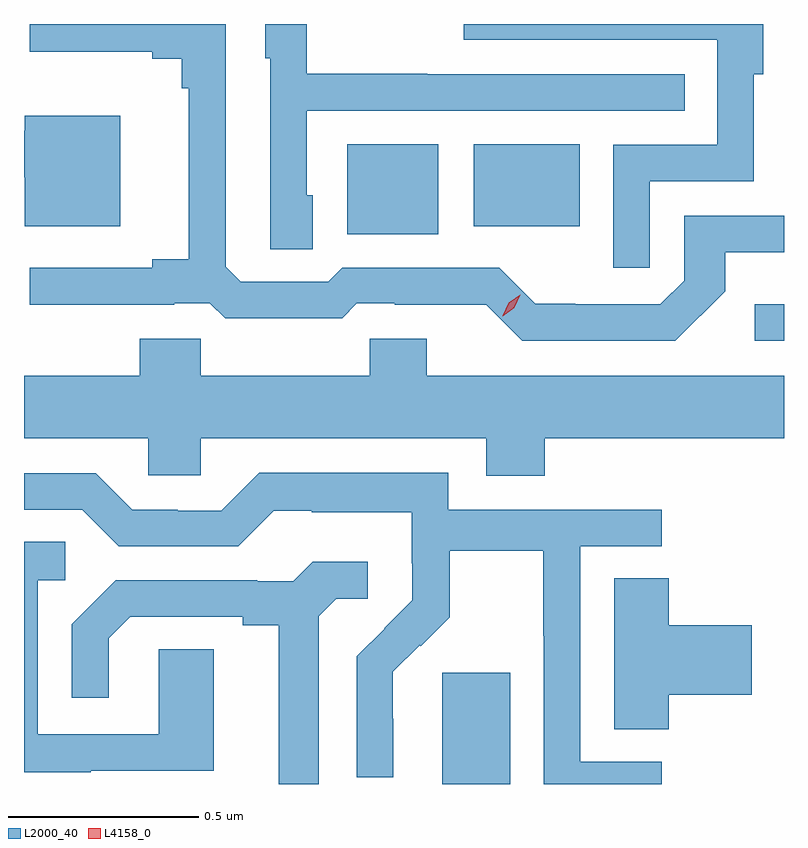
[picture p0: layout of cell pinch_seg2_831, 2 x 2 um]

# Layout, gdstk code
import gdstk
lib = gdstk.Library(unit=1e-6, precision=1e-09)
def R(c, l, rs):  # rectangles x0, y0, x1, y1
    for r in rs: c.add(gdstk.rectangle(r[:2], r[2:], *l))
def P(c, l, *ps):  # polygons
    for p in ps: c.add(gdstk.Polygon(p, *l))
L2000_40 = (2000, 40)
L4158_0 = (4158, 0)

pinch_seg2_831 = lib.new_cell('pinch_seg2_831')
R(pinch_seg2_831, L2000_40, [(639.98,620.086,640.159,620.379), (640.803,621.252,640.88,621.349), (639.731,621.533,639.97,621.769), (640.064,621.554,640.342,621.769)])
P(pinch_seg2_831, L2000_40, [(639.64,621.636),(639.624,621.636),(639.624,621.858),(640.619,621.858),(640.619,621.954),(639.941,621.954),(639.941,621.955),(639.624,621.955),(639.624,622.086),(639.515,622.086),(639.515,621.996),(639.528,621.996),(639.528,621.493),(639.64,621.493)],
  [(640.527,621.672),(640.8,621.672),(640.8,621.954),(640.825,621.954),(640.825,622.086),(640.037,622.086),(640.037,622.044),(640.704,622.044),(640.704,621.768),(640.431,621.768),(640.431,621.444),(640.527,621.444)],
  [(640.725,621.383),(640.725,621.485),(640.88,621.485),(640.88,621.582),(640.617,621.582),(640.617,621.411),(640.554,621.348),(640.33,621.348),(640.33,621.35),(640.226,621.35),(640.131,621.444),(639.717,621.444),(639.681,621.408),(639.45,621.408),(639.411,621.447),(639.411,622.086),(638.895,622.086),(638.895,622.013),(639.218,622.013),(639.218,621.994),(639.295,621.994),(639.295,621.917),(639.314,621.917),(639.314,621.467),(639.218,621.467),(639.218,621.444),(638.895,621.444),(638.895,621.347),(639.275,621.347),(639.275,621.351),(639.369,621.351),(639.409,621.312),(639.717,621.312),(639.756,621.351),(639.856,621.351),(639.856,621.347),(640.097,621.347),(640.191,621.252),(640.594,621.252)],
  [(639.133,621.844),(638.882,621.844),(638.882,621.805),(638.88,621.805),(638.88,621.683),(638.882,621.683),(638.882,621.554),(639.133,621.554)],
  [(640.25,620.996),(640.88,620.996),(640.88,621.16),(639.94,621.16),(639.94,621.258),(639.79,621.258),(639.79,621.16),(639.345,621.16),(639.345,621.258),(639.185,621.258),(639.185,621.16),(638.88,621.16),(638.88,620.996),(639.207,620.996),(639.207,620.898),(639.345,620.898),(639.345,620.996),(640.097,620.996),(640.097,620.897),(640.25,620.897)],
  [(640.558,620.145),(640.344,620.145),(640.344,620.712),(640.558,620.712),(640.558,620.808),(639.996,620.808),(639.996,620.905),(639.499,620.905),(639.399,620.805),(639.284,620.805),(639.284,620.808),(639.165,620.808),(639.069,620.904),(638.88,620.904),(638.88,620.808),(639.033,620.808),(639.129,620.712),(639.444,620.712),(639.537,620.805),(639.637,620.805),(639.637,620.801),(639.9,620.801),(639.9,620.667),(639.902,620.667),(639.902,620.57),(639.828,620.496),(639.829,620.495),(639.756,620.422),(639.756,620.104),(639.852,620.104),(639.852,620.258),(639.851,620.258),(639.851,620.381),(639.921,620.451),(639.924,620.448),(640.001,620.525),(640.001,620.7),(640.246,620.7),(640.246,620.476),(640.248,620.476),(640.248,620.086),(640.558,620.086)],
  [(639.055,620.121),(639.379,620.121),(639.379,620.441),(639.234,620.441),(639.234,620.217),(638.916,620.217),(638.916,620.622),(638.989,620.622),(638.989,620.723),(638.88,620.723),(638.88,620.117),(639.055,620.117)],
  [(639.655,620.527),(639.702,620.574),(639.784,620.574),(639.784,620.671),(639.64,620.671),(639.588,620.619),(639.494,620.619),(639.494,620.622),(639.122,620.622),(639.006,620.506),(639.006,620.313),(639.103,620.313),(639.103,620.469),(639.16,620.526),(639.455,620.526),(639.455,620.504),(639.551,620.504),(639.551,620.086),(639.655,620.086)],
  [(640.577,620.321),(640.795,620.321),(640.795,620.504),(640.577,620.504),(640.577,620.627),(640.433,620.627),(640.433,620.23),(640.577,620.23)])
P(pinch_seg2_831, L4158_0, [(640.14,621.317),(640.14,621.318),(640.155,621.352),(640.186,621.373),(640.186,621.373),(640.186,621.373),(640.17,621.339),(640.14,621.317)])

lib.write_gds('pinch_seg2_831.gds')
